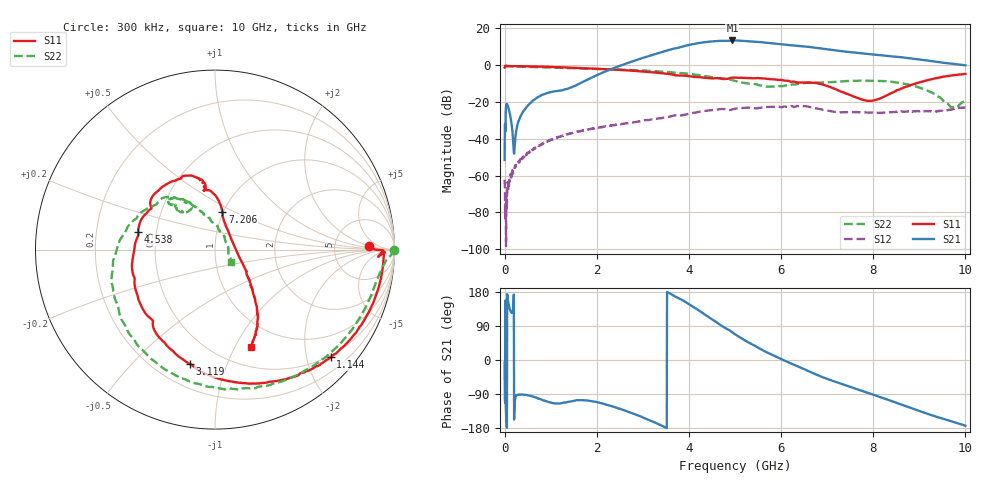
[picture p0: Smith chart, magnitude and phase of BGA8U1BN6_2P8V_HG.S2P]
!Agilent Technologies,E5071C,MY46316587,B.13.01
!Date: Tue Nov 28 12:49:23 2017
!Data & Calibration Information:
!Freq	S11:SOLT2(ON)	S21:SOLT2(ON)	S12:SOLT2(ON)	S22:SOLT2(ON)
!PortZ  Port1:50+j0  Port2:50+j0
!Above PortZ is port z conversion or system Z0 setting when saving the data.
!When reading, reference impedance value at option line is always used.
# Hz S RI R 50
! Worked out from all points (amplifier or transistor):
!   1601 points, 300 kHz to 10 GHz, reference 50 ohm
!   highest |S21| = 13.4 dB at 4.944 GHz (marker M1)
!   |S21| within 3 dB of that: 3.907 GHz to 6.381 GHz (2.475 GHz wide, 48.1 % of centre)
!   unconditionally stable (mu >= 1): start of sweep to end of sweep
!   at 1.663 GHz: K = 9.75, MAG = 0.2 dB, |S12| = -35.7 dB
!   at 5 GHz: K = 1.44, MAG = 14.6 dB, |S12| = -23.7 dB
!   at 10 GHz: K = 4.82, MAG = 1.7 dB, |S12| = -23.1 dB
!   lowest NFmin = 1.54 dB at 5.4 GHz
!   S11 on the Smith chart (normalised r, x): 300 kHz: 13, +2; 1.144 GHz: 0.46, -2.47; 3.119 GHz: 0.34, -0.74; 4.538 GHz: 0.39, +0.09; 7.206 GHz: 0.99, +0.44; 10 GHz: 0.71, -1.16
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300000  0.8603 0.0223  0.00263 -0.000321  -0.00073 0.000247  0.9947 0.000509
7.529775e7  0.9393 -0.0454  -0.068 0.0309  -0.000151 0.000589  0.941 -0.0845
2.127936e8  0.9287 -0.1354  -0.00314 -0.00385  -0.000406 0.00156  0.901 -0.1719
5.065348e8  0.8733 -0.3134  -0.00437 -0.0799  -0.000518 0.00408  0.8269 -0.3438
1.144016e9  0.6451 -0.5995  -0.0836 -0.1806  -2.45e-05 0.0107  0.5701 -0.6314
1.669e9  0.4206 -0.7142  -0.0927 -0.3224  0.0023 0.0163  0.3096 -0.7535
2.425227e9  0.1204 -0.7399  -0.5148 -0.7149  0.00709 0.0228  -0.0645 -0.7559
3.118956e9  -0.142 -0.6359  -1.609 -0.6657  0.0136 0.0293  -0.3724 -0.5924
3.3377e9  -0.2273 -0.572  -2.087 -0.3941  0.0163 0.032  -0.4529 -0.4984
4.01268e9  -0.4357 -0.2426  -2.964 1.961  0.0287 0.0387  -0.5691 -0.0916
4.243923e9  -0.4625 -0.0821  -2.514 3.174  0.037 0.04  -0.5271 0.058
4.537664e9  -0.4284 0.0968  -1.135 4.288  0.048 0.0359  -0.4227 0.198
4.943902e9  -0.3478 0.2969  1.387 4.472  0.057 0.0266  -0.2595 0.2929
5.00015e9  -0.3234 0.3224  1.742 4.326  0.0603 0.0258  -0.234 0.2897
5.306391e9  -0.2154 0.3876  3.106 3.166  0.0687 0.0119  -0.1657 0.2643
5.66263e9  -0.1247 0.4108  3.784 1.525  0.072 0.000182  -0.1324 0.2265
6.156365e9  -0.0585 0.371  3.516 -0.3919  0.0676 -0.0251  -0.1826 0.2114
6.66885e9  -0.044 0.3305  2.562 -1.679  0.0451 -0.0559  -0.2206 0.2492
7.206334e9  0.0414 0.212  1.282 -2.118  0.0177 -0.0502  -0.2465 0.2526
8.33755e9  0.1471 -0.0649  -0.4781 -1.703  -0.0213 -0.0472  -0.2149 0.2882
9.087527e9  0.2246 -0.2842  -1.033 -0.9197  -0.0494 -0.0269  -0.0762 0.2126
1e10  0.1993 -0.5417  -0.9813 -0.113  -0.0694 0.00879  0.0899 -0.0682
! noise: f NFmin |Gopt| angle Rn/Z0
5e+09  1.755  0.1046  -127.4  0.1867
5.1e+09  1.675  0.08721  -156  0.1738
5.2e+09  1.602  0.08903  171.3  0.1653
5.3e+09  1.564  0.1111  170.4  0.1534
5.4e+09  1.537  0.1078  179.2  0.1556
5.55e+09  1.565  0.1151  179.8  0.1597
5.65e+09  1.621  0.1219  -174.7  0.1593
5.75e+09  1.643  0.1262  -178.2  0.1578
5.85e+09  1.709  0.1207  -176.9  0.1735
6e+09  1.726  0.1405  -176.5  0.1597
